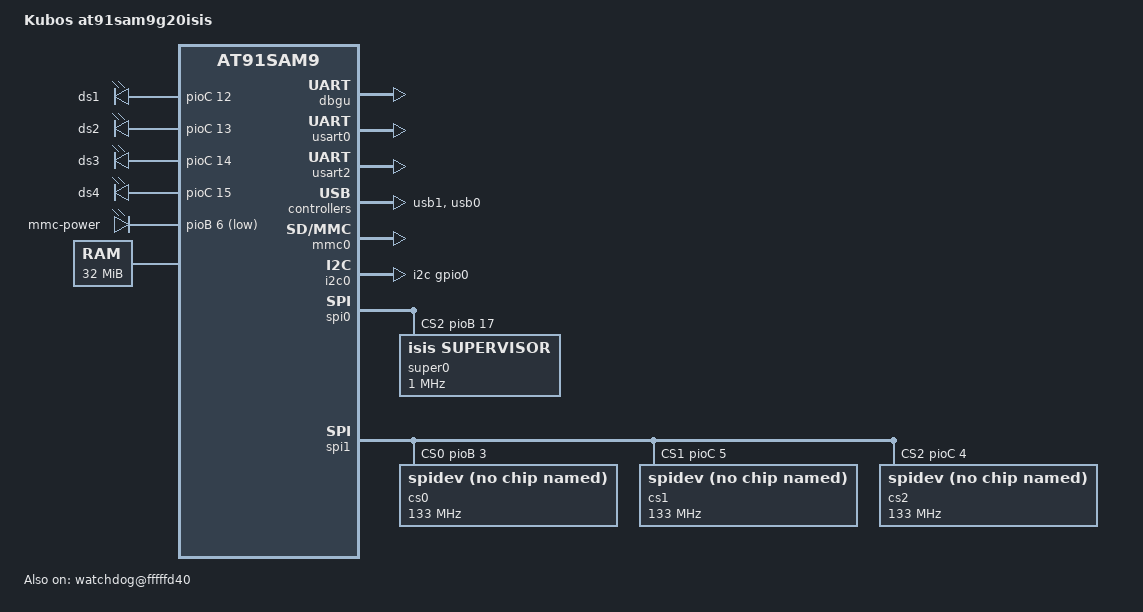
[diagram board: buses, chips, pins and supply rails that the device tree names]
/*
 * iobc-common.dtsi - Device Tree file for Kubos Linux on ISIS iOBC board (at91sam9g20isis)
 *
 * Copyright (C) 2012 Jean-Christophe PLAGNIOL-VILLARD <plagnioj@jcrosoft.com>
 *
 * Licensed under GPLv2.
 * 
 * Modified for Kubos Linux:
 *   This file was originally based on the at91sam9*.dts* files and has been modified
 *   for the at91sam9g20isis board.
 *   Changes - 
 *     Added NOR flash configuration
 *     Updated SDRAM size
 *     Updated watchdog pin definition
 *     Added SD card power pin definition
 * Author: Catherine Garabedian <catherine@kubos.co>
 */

#include "at91sam9g20.dtsi"

/ {
	model = "Kubos at91sam9g20isis";
	compatible = "kubos,at91sam9g20isis", "atmel,at91sam9g20", "atmel,at91sam9";

	aliases {
		spi0 = &spi0;
		spi1 = &spi1;
	};

	leds {
		compatible = "gpio-leds";

		ds1 {
			label = "ds1";
			linux,default-trigger = "heartbeat";
			gpios = <&pioC 12 GPIO_ACTIVE_HIGH>;
		};
		
		ds2 {
			label = "ds2";
			linux,default-trigger = "disk-activity";
			gpios = <&pioC 13 GPIO_ACTIVE_HIGH>;
		};
		
		ds3 {
			label = "ds3";
			gpios = <&pioC 14 GPIO_ACTIVE_HIGH>;
		};
		
		ds4 {
			label = "ds4";
			gpios = <&pioC 15 GPIO_ACTIVE_HIGH>;
		};
		mmc-power {
			label = "mmc-power";
			gpios = <&pioB 6 GPIO_ACTIVE_LOW>;
			default-state = "on";
		};
	};

	chosen {
		bootargs = "mem=32M console=ttys0,115200 root=/dev/mtdblk0p6";
		stdout-path = "serial0:115200n8";
	};

	memory {
		reg = <0x20000000 0x2000000>;
	};

	clocks {
		slow_xtal {
			clock-frequency = <32768>;
		};

		main_xtal {
			clock-frequency = <18432000>;
		};
	};

	ahb {
		apb {
			pinctrl@fffff400 {
				board {
					pinctrl_pck0_as_mck: pck0_as_mck {
						atmel,pins =
							<AT91_PIOC 1 AT91_PERIPH_B AT91_PINCTRL_NONE>;	/* PC1 periph B */
					};

				};

				mmc0_slot0 {
					pinctrl_board_mmc0_slot0: mmc0_slot0-board {
						atmel,pins =
							<AT91_PIOC 2 AT91_PERIPH_GPIO AT91_PINCTRL_PULL_UP_DEGLITCH>;	/* PC2 gpio CD pin pull up and deglitch */
					};
				};

				spi0 {
					pinctrl_spi0: spi0-0 {
						atmel,pins =
							<AT91_PIOA 0 AT91_PERIPH_A AT91_PINCTRL_PULL_UP	/* PA0 periph A SPI0_MISO pin */
							 AT91_PIOA 1 AT91_PERIPH_A AT91_PINCTRL_PULL_UP	/* PA1 periph A SPI0_MOSI pin */
							 AT91_PIOA 2 AT91_PERIPH_A AT91_PINCTRL_NONE>;	/* PA2 periph A SPI0_SPCK pin */
					};
				};

				spi0_cs {
					pinctrl_spi0_cs: spi0-cs {
						atmel,pins =
							<AT91_PIOB 17 AT91_PERIPH_GPIO AT91_PINCTRL_PULL_UP>;
					};
				};

				spi1 {
					pinctrl_spi1: spi1-0 {
						atmel,pins =
							<AT91_PIOB 0 AT91_PERIPH_A AT91_PINCTRL_PULL_UP	/* PB0 periph A SPI1_MISO pin */
							 AT91_PIOB 1 AT91_PERIPH_A AT91_PINCTRL_PULL_UP	/* PB1 periph A SPI1_MOSI pin */
							 AT91_PIOB 2 AT91_PERIPH_A AT91_PINCTRL_NONE>;	/* PB2 periph A SPI1_SPCK pin */
					};
				};

				spi1_cs {
					pinctrl_spi1_cs: spi1-cs {
						atmel,pins =
							<AT91_PIOB 3 AT91_PERIPH_A AT91_PINCTRL_PULL_UP
							 AT91_PIOC 5 AT91_PERIPH_B AT91_PINCTRL_PULL_UP
							 AT91_PIOC 4 AT91_PERIPH_B AT91_PINCTRL_PULL_UP>;
					};
				};

				i2c_gpio0 {
					pinctrl_i2c_gpio0: i2c_gpio0-0 {
						atmel,pins =
							<AT91_PIOA 23 AT91_PERIPH_A AT91_PINCTRL_NONE
							 AT91_PIOA 24 AT91_PERIPH_A AT91_PINCTRL_NONE>;
					};
				};  

			};

			dbgu: serial@fffff200 {
				status = "okay";
			};

			usart0: serial@fffb0000 {
				/* Use default pinctrl (TX/RX only) */
				status = "okay";
			};

			usart2: serial@fffb8000 {
				pinctrl-0 =
					<&pinctrl_usart2
					 &pinctrl_usart2_rts
					 &pinctrl_usart2_cts>;
				status = "okay";
			};

			usb1: gadget@fffa4000 {
				atmel,vbus-gpio = <&pioC 5 GPIO_ACTIVE_HIGH>;
				status = "okay";
			};

			mmc0: mmc@fffa8000 {
				pinctrl-0 = <
					&pinctrl_board_mmc0_slot0
					&pinctrl_mmc0_slot0_cmd_dat0
					&pinctrl_mmc0_slot0_dat1_3>;
				status = "okay";
				slot@0 {
					reg = <0>;
					bus-width = <4>;
				};
			};

			ssc0: ssc@fffbc000 {
				status = "okay";
				pinctrl-0 = <&pinctrl_ssc0_tx>;
			};

			i2c0: i2c@fffac000 {
				compatible = "i2c-gpio";
				gpios = <&pioA 23 0 /* sda */
					 &pioA 24 0 /* scl */
					>;
				i2c-gpio,delay-us = <2>;	/* ~100 kHz */
				#address-cells = <1>;
				#size-cells = <0>;
				pinctrl-names = "default";
				pinctrl-0 = <&pinctrl_i2c_gpio0>;
				status = "okay";
			};

			spi0: spi@fffc8000 {
				pinctrl-0 = <&pinctrl_spi0 &pinctrl_spi0_cs>;
				cs-gpios = <0>, <0>, <&pioB 17 0>;
				status = "okay";
				super0: super@0 {
					compatible = "isis,supervisor";
					reg = <2>;
					spi-max-frequency = <1000000>;
					status = "okay";
				};
			};

			spi1: spi@fffcc000 {
				pinctrl-0 = <&pinctrl_spi1 &pinctrl_spi1_cs>;
				cs-gpios = <&pioB 3 0>, <&pioC 5 0>, <&pioC 4 0>;
				status = "okay";
				cs0@0 {
					compatible = "spidev";
					reg = <0>;
					spi-max-frequency = <133000000>;
					status = "okay";
				};
				cs1@0 {
					compatible = "spidev";
					reg = <1>;
					spi-max-frequency = <133000000>;
					status = "okay";
				};
				cs2@0 {
					compatible = "spidev";
					reg = <2>;
					spi-max-frequency = <133000000>;
					status = "okay";
				};
			};

			shdwc@fffffd10 {
				atmel,wakeup-counter = <10>;
				atmel,wakeup-rtt-timer;
			};
			
			watchdog@fffffd40 {
				compatible = "kubos,at91isis-wdt";
				timeout-sec = <1>;
				kubos,max-heartbeat = <50>;
				kubos,min-heartbeat = <10>;
    				kubos,watchdog-type = "hardware";
    				kubos,reset-type = "all";
				status = "okay";
			};

			gpbr: syscon@fffffd50 {
				status = "okay";
			};
		};

		usb0: ohci@00500000 {
			num-ports = <2>;
			status = "okay";
		};
	};
	           
    tcb0_pwm: pwm {
        compatible = "atmel,tcb-pwm";
        #pwm-cells = <3>;
        tc-block = <0>;
        pinctrl-names = "default";
        pinctrl-0 = <&pinctrl_tcb0_tioa0
                 &pinctrl_tcb0_tioa1
                 &pinctrl_tcb0_tioa2
                 &pinctrl_tcb0_tiob0
                 &pinctrl_tcb0_tiob1
                 &pinctrl_tcb0_tiob2>;
    };
};

